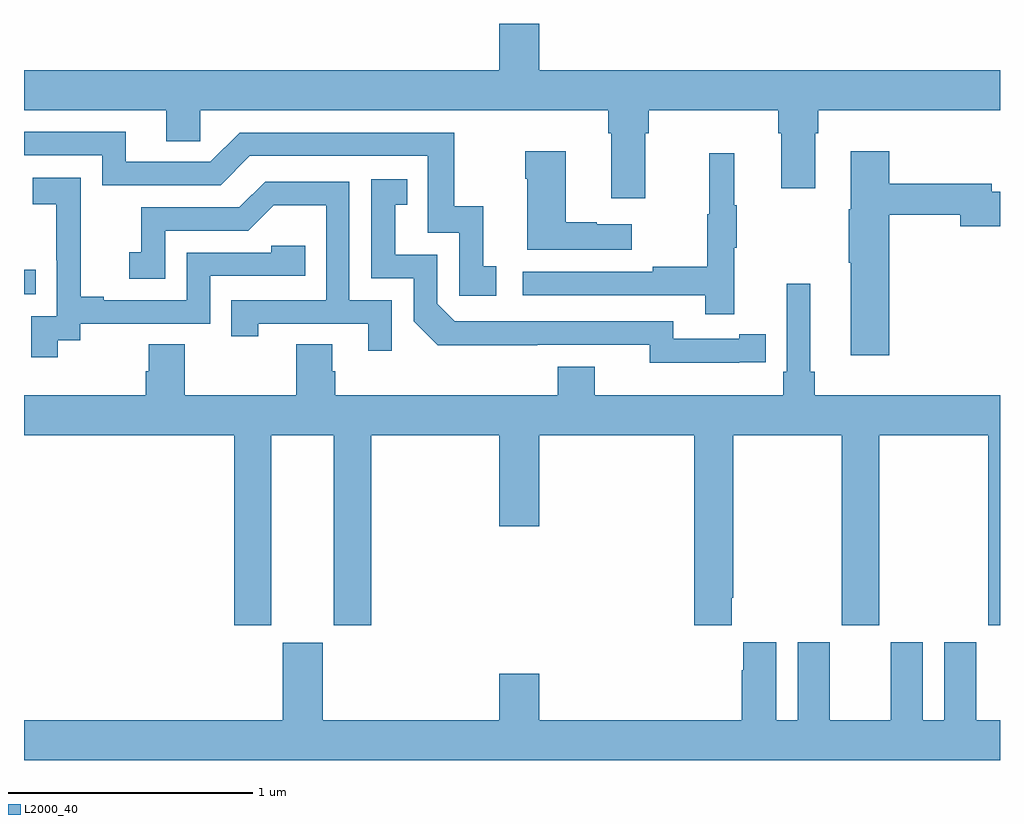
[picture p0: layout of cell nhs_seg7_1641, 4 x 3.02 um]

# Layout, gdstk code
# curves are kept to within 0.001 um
import gdstk
lib = gdstk.Library(unit=1e-6, precision=1e-09)
def R(c, l, rs):  # rectangles x0, y0, x1, y1
    for r in rs: c.add(gdstk.rectangle(r[:2], r[2:], *l))
def P(c, l, *ps):  # polygons
    for p in ps: c.add(gdstk.Polygon(p, *l))
L2000_40 = (2000, 40)

nhs_seg7_1641 = lib.new_cell('nhs_seg7_1641')
R(nhs_seg7_1641, L2000_40, [(223,1002.525,223.049,1002.626)])
P(nhs_seg7_1641, L2000_40, [(225.547,1003.184),(225.56,1003.184),(225.56,1003.28),(226.091,1003.28),(226.091,1003.184),(226.103,1003.184),(226.103,1002.96),(226.243,1002.96),(226.243,1003.184),(226.256,1003.184),(226.256,1003.28),(227,1003.28),(227,1003.444),(225.112,1003.444),(225.112,1003.633),(224.948,1003.633),(224.948,1003.444),(223,1003.444),(223,1003.28),(223.583,1003.28),(223.583,1003.153),(223.722,1003.153),(223.722,1003.28),(225.395,1003.28),(225.395,1003.184),(225.407,1003.184),(225.407,1002.918),(225.547,1002.918)],
  [(224.935,1002.639),(224.882,1002.639),(224.882,1002.886),(224.764,1002.886),(224.764,1003.188),(223.884,1003.188),(223.764,1003.068),(223.417,1003.068),(223.417,1003.191),(223,1003.191),(223,1003.095),(223.32,1003.095),(223.32,1002.972),(223.806,1002.972),(223.926,1003.092),(224.655,1003.092),(224.655,1002.777),(224.784,1002.777),(224.784,1002.519),(224.935,1002.519)],
  [(225.49,1002.811),(225.347,1002.811),(225.347,1002.821),(225.22,1002.821),(225.22,1003.111),(225.055,1003.111),(225.055,1002.998),(225.062,1002.998),(225.062,1002.707),(225.49,1002.707)],
  [(226.547,1002.85),(226.838,1002.85),(226.838,1002.803),(227,1002.803),(227,1002.945),(226.966,1002.945),(226.966,1002.979),(226.547,1002.979),(226.547,1003.111),(226.388,1003.111),(226.388,1002.873),(226.381,1002.873),(226.381,1002.655),(226.388,1002.655),(226.388,1002.276),(226.547,1002.276)],
  [(225.911,1002.715),(225.922,1002.715),(225.922,1002.889),(225.911,1002.889),(225.911,1003.102),(225.808,1003.102),(225.808,1002.852),(225.801,1002.852),(225.801,1002.638),(225.577,1002.638),(225.577,1002.618),(225.045,1002.618),(225.045,1002.522),(225.793,1002.522),(225.793,1002.444),(225.911,1002.444)],
  [(223.138,1002.337),(223.23,1002.337),(223.23,1002.405),(223.764,1002.405),(223.764,1002.6),(224.153,1002.6),(224.153,1002.723),(224.013,1002.723),(224.013,1002.696),(223.668,1002.696),(223.668,1002.501),(223.327,1002.501),(223.327,1002.514),(223.232,1002.514),(223.232,1002.797),(223.233,1002.797),(223.233,1003.003),(223.035,1003.003),(223.035,1002.893),(223.133,1002.893),(223.133,1002.665),(223.134,1002.665),(223.134,1002.435),(223.029,1002.435),(223.029,1002.267),(223.138,1002.267)],
  [(225.932,1002.246),(226.04,1002.246),(226.04,1002.362),(225.932,1002.362),(225.932,1002.342),(225.66,1002.342),(225.66,1002.414),(224.766,1002.414),(224.694,1002.486),(224.694,1002.687),(224.521,1002.687),(224.521,1002.891),(224.57,1002.891),(224.57,1002.997),(224.424,1002.997),(224.424,1002.591),(224.598,1002.591),(224.598,1002.414),(224.696,1002.317),(225.564,1002.318),(225.564,1002.245)],
  [(224.508,1002.501),(224.334,1002.501),(224.334,1002.987),(223.988,1002.987),(223.883,1002.882),(223.48,1002.882),(223.48,1002.697),(223.431,1002.697),(223.431,1002.588),(223.578,1002.588),(223.578,1002.786),(223.92,1002.786),(224.024,1002.89),(224.238,1002.89),(224.238,1002.501),(223.849,1002.501),(223.849,1002.354),(223.96,1002.354),(223.96,1002.405),(224.411,1002.405),(224.411,1002.294),(224.508,1002.294)],
  [(224.014,1001.948),(224.27,1001.948),(224.27,1001.169),(224.423,1001.169),(224.423,1001.948),(224.948,1001.948),(224.948,1001.574),(225.112,1001.574),(225.112,1001.948),(225.746,1001.948),(225.746,1001.169),(225.901,1001.169),(225.901,1001.281),(225.906,1001.281),(225.906,1001.948),(226.351,1001.948),(226.351,1001.169),(226.506,1001.169),(226.506,1001.948),(226.951,1001.948),(226.951,1001.169),(227,1001.169),(227,1002.112),(226.241,1002.112),(226.241,1002.208),(226.222,1002.208),(226.222,1002.568),(226.125,1002.568),(226.125,1002.208),(226.112,1002.208),(226.112,1002.112),(225.34,1002.112),(225.34,1002.229),(225.188,1002.229),(225.188,1002.112),(224.276,1002.112),(224.276,1002.21),(224.263,1002.21),(224.263,1002.32),(224.116,1002.32),(224.116,1002.112),(223.659,1002.112),(223.659,1002.32),(223.511,1002.32),(223.511,1002.21),(223.499,1002.21),(223.499,1002.112),(223,1002.112),(223,1001.948),(223.862,1001.948),(223.862,1001.169),(224.014,1001.169)],
  [(227,1000.78),(226.903,1000.78),(226.903,1001.098),(226.772,1001.098),(226.772,1000.78),(226.684,1000.78),(226.684,1001.098),(226.553,1001.098),(226.553,1000.78),(226.303,1000.78),(226.303,1001.098),(226.172,1001.098),(226.172,1000.78),(226.084,1000.78),(226.084,1001.098),(225.947,1001.098),(225.947,1000.985),(225.941,1000.985),(225.941,1000.78),(225.112,1000.78),(225.112,1000.969),(224.948,1000.969),(224.948,1000.78),(224.224,1000.78),(224.224,1001.097),(224.06,1001.097),(224.06,1000.78),(223,1000.78),(223,1000.616),(227,1000.616)])

lib.write_gds('nhs_seg7_1641.gds')
